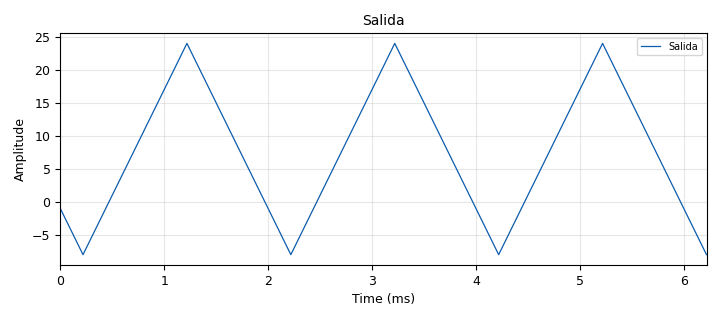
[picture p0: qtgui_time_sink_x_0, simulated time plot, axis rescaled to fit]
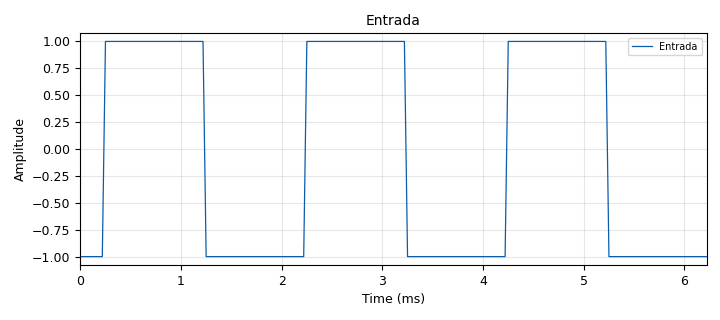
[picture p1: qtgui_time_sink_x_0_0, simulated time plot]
options:
  parameters:
    generate_options: qt_gui
    id: Práctica_1
    output_language: python
    title: Practica 2
  states: {}

blocks:
- name: samp_rate
  id: variable
  parameters:
    value: '32000'
  states: {}
- name: blocks_throttle2_0
  id: blocks_throttle2
  parameters:
    samples_per_second: samp_rate
    type: float
  states: {}
- name: blocks_vector_source_x_0
  id: blocks_vector_source_x
  parameters:
    repeat: 'True'
    type: float
    vector: (1, 1, 1, 1,1, 1, 1, 1,1, 1, 1, 1,1, 1, 1, 1,1, 1, 1, 1,1, 1, 1, 1,1, 1, 1, 1,1, 1, 1, 1,-1, -1, -1, -1,-1, -1, -1, -1,-1, -1, -1, -1,-1, -1, -1, -1,-1, -1, -1, -1,-1, -1, -1, -1,-1, -1, -1, -1,-1, -1, -1, -1)
  states: {}
- name: epy_block_0_0_0
  id: epy_block
  parameters:
    _source_code: |
      import numpy as np
      from gnuradio import gr
      class blk (gr. sync_block ):
          def __init__ ( self ) : # only default arguments here
              gr. sync_block . __init__ (self,
              name ='e_Acum ', # will show up in GRC
              in_sig =[ np. float32 ],
              out_sig =[ np. float32 ]
          )
          def work (self , input_items , output_items ):
              x = input_items [0] # Senial de entrada .
              y0 = output_items [0] # Senial acumulada
              y0 [:] = np. cumsum (x)
              
              return len (y0)
  states: {}
- name: epy_block_0_0_0_0
  id: epy_block
  parameters:
    _source_code: |
      import numpy as np
      from gnuradio import gr

      class blk(gr.sync_block):
          def __init__(self):
              gr.sync_block.__init__(
                  self,
                  name='e_Diff',         # aparecerá en GRC
                  in_sig=[np.float32],
                  out_sig=[np.float32]
              )
              self.acum_anterior = 0.0  # acumulador anterior

          def work(self, input_items, output_items):
              x = input_items[0]   # Señal de entrada
              y0 = output_items[0] # Señal acumulada diferencial

              # número de muestras en este bloque
              N = len(x)

              # suma acumulativa con offset del bloque anterior
              diff = np.cumsum(x) + self.acum_anterior

              # guardar último valor para el siguiente bloque
              self.acum_anterior = diff[-1]

              # salida
              y0[:] = diff
              return len(y0)
  states: {state: disabled}
- name: qtgui_time_sink_x_0
  id: qtgui_time_sink_x
  parameters:
    label1: Salida
    name: '"Salida"'
    size: '200'
    srate: samp_rate
    type: float
  states: {}
- name: qtgui_time_sink_x_0_0
  id: qtgui_time_sink_x
  parameters:
    label1: Entrada
    name: '"Entrada"'
    size: '200'
    srate: samp_rate
    type: float
  states: {}

connections:
- [blocks_throttle2_0, '0', qtgui_time_sink_x_0, '0']
- [blocks_vector_source_x_0, '0', epy_block_0_0_0, '0']
- [blocks_vector_source_x_0, '0', epy_block_0_0_0_0, '0']
- [blocks_vector_source_x_0, '0', qtgui_time_sink_x_0_0, '0']
- [epy_block_0_0_0, '0', blocks_throttle2_0, '0']
- [epy_block_0_0_0_0, '0', blocks_throttle2_0, '0']

metadata:
  file_format: 1
  grc_version: v3.10.11.0-89-ga17f69e7
